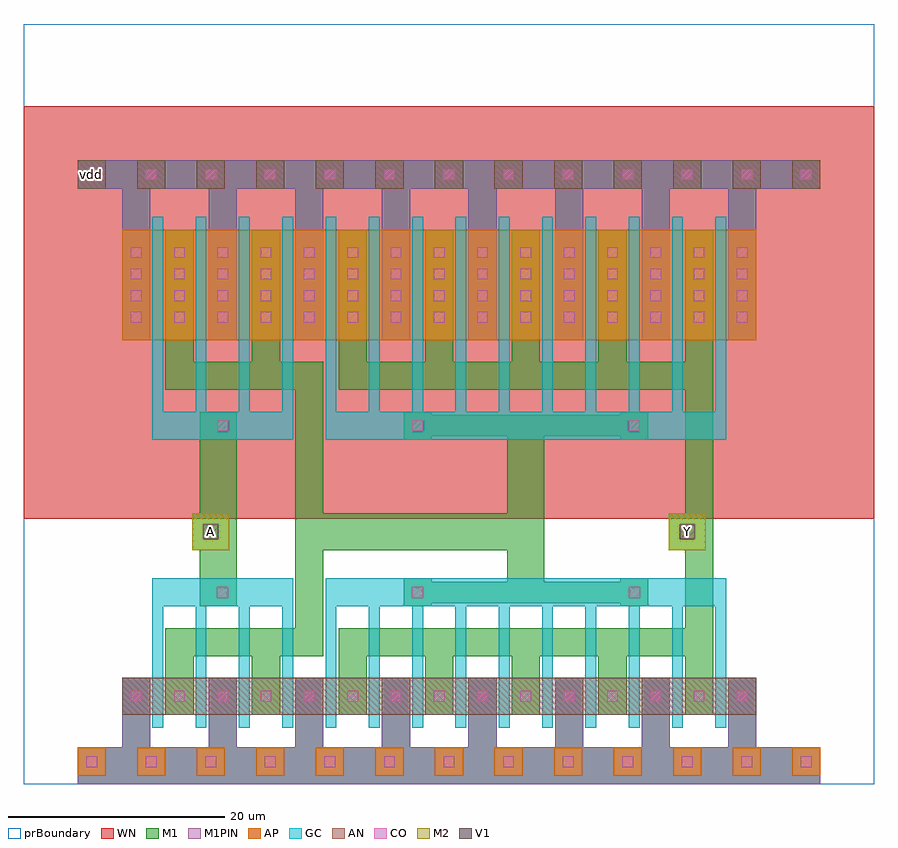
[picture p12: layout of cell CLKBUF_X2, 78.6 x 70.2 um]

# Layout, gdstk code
import gdstk
lib = gdstk.Library(unit=1e-6, precision=1e-09)
def R(c, l, rs):  # rectangles x0, y0, x1, y1
    for r in rs: c.add(gdstk.rectangle(r[:2], r[2:], *l))
def A(c, l, x, y, w, h, nx, ny, dx, dy):  # array of equal rectangles
    R(c, l, [(x+i*dx, y+j*dy, x+i*dx+w, y+j*dy+h) for i in range(nx) for j in range(ny)])
def P(c, l, *ps):  # polygons
    for p in ps: c.add(gdstk.Polygon(p, *l))
AP = (3, 1)
AN = (3, 2)
GC = (8, 1)
CO = (11, 0)
M1 = (13, 0)
V1 = (19, 0)
M2 = (20, 0)
M1PIN = (48, 1)
WN = (140, 0)
prBoundary = (235, 4)

clkbuf_x2 = lib.new_cell('CLKBUF_X2')
A(clkbuf_x2, AP, 5, 0.75, 2.6, 2.6, 13, 1, 5.5, 0)
R(clkbuf_x2, AP, [(9.1,41,67.7,51.2)])
A(clkbuf_x2, AN, 5, 55, 2.6, 2.6, 13, 1, 5.5, 0)
R(clkbuf_x2, AN, [(9.1,6.4,67.7,9.8)])
P(clkbuf_x2, GC, [(11.9,5.2),(11.9,19),(24.9,19),(24.9,5.2),(23.9,5.2),(23.9,16.4),(20.9,16.4),(20.9,5.2),(19.9,5.2),(19.9,16.4),(16.9,16.4),(16.9,5.2),(15.9,5.2),(15.9,16.4),(12.9,16.4),(12.9,5.2)],
  [(27.9,5.2),(27.9,19),(64.9,19),(64.9,5.2),(63.9,5.2),(63.9,16.4),(60.9,16.4),(60.9,5.2),(59.9,5.2),(59.9,16.4),(56.9,16.4),(56.9,5.2),(55.9,5.2),(55.9,16.4),(52.9,16.4),(52.9,5.2),(51.9,5.2),(51.9,16.4),(48.9,16.4),(48.9,5.2),(47.9,5.2),(47.9,16.4),(44.9,16.4),(44.9,5.2),(43.9,5.2),(43.9,16.4),(40.9,16.4),(40.9,5.2),(39.9,5.2),(39.9,16.4),(36.9,16.4),(36.9,5.2),(35.9,5.2),(35.9,16.4),(32.9,16.4),(32.9,5.2),(31.9,5.2),(31.9,16.4),(28.9,16.4),(28.9,5.2)],
  [(11.9,31.8),(11.9,52.4),(12.9,52.4),(12.9,34.4),(15.9,34.4),(15.9,52.4),(16.9,52.4),(16.9,34.4),(19.9,34.4),(19.9,52.4),(20.9,52.4),(20.9,34.4),(23.9,34.4),(23.9,52.4),(24.9,52.4),(24.9,31.8)],
  [(27.9,31.8),(27.9,52.4),(28.9,52.4),(28.9,34.4),(31.9,34.4),(31.9,52.4),(32.9,52.4),(32.9,34.4),(35.9,34.4),(35.9,52.4),(36.9,52.4),(36.9,34.4),(39.9,34.4),(39.9,52.4),(40.9,52.4),(40.9,34.4),(43.9,34.4),(43.9,52.4),(44.9,52.4),(44.9,34.4),(47.9,34.4),(47.9,52.4),(48.9,52.4),(48.9,34.4),(51.9,34.4),(51.9,52.4),(52.9,52.4),(52.9,34.4),(55.9,34.4),(55.9,52.4),(56.9,52.4),(56.9,34.4),(59.9,34.4),(59.9,52.4),(60.9,52.4),(60.9,34.4),(63.9,34.4),(63.9,52.4),(64.9,52.4),(64.9,31.8)])
A(clkbuf_x2, CO, 5.8, 1.55, 1, 1, 13, 2, 5.5, 54.25)
A(clkbuf_x2, CO, 9.9, 7.6, 1, 1, 5, 2, 4, 35)
A(clkbuf_x2, CO, 25.9, 7.6, 1, 1, 11, 2, 4, 35)
A(clkbuf_x2, CO, 9.9, 44.6, 1, 1, 5, 3, 4, 2)
A(clkbuf_x2, CO, 25.9, 44.6, 1, 1, 11, 3, 4, 2)
R(clkbuf_x2, CO, [(17.9,17.2,18.9,18.2), (35.9,17.2,36.9,18.2), (55.9,17.2,56.9,18.2), (17.9,32.6,18.9,33.6), (35.9,32.6,36.9,33.6), (55.9,32.6,56.9,33.6)])
A(clkbuf_x2, M1, 11.7, 2.6, 5.4, 0.8, 7, 1, 8, 0)
R(clkbuf_x2, M1, [(5,2.6,9.1,3.4), (67.7,2.6,73.6,3.4)])
P(clkbuf_x2, M1, [(5,0),(5,2.6),(9.1,2.6),(9.1,9.8),(11.7,9.8),(11.7,2.6),(17.1,2.6),(17.1,9.8),(19.7,9.8),(19.7,2.6),(25.1,2.6),(25.1,9.8),(27.7,9.8),(27.7,2.6),(33.1,2.6),(33.1,9.8),(35.7,9.8),(35.7,2.6),(41.1,2.6),(41.1,9.8),(43.7,9.8),(43.7,2.6),(49.1,2.6),(49.1,9.8),(51.7,9.8),(51.7,2.6),(57.1,2.6),(57.1,9.8),(59.7,9.8),(59.7,2.6),(65.1,2.6),(65.1,9.8),(67.7,9.8),(67.7,2.6),(73.6,2.6),(73.6,0)],
  [(16.3,16.4),(16.3,21.6),(15.6,21.6),(15.6,25),(16.3,25),(16.3,34.4),(19.7,34.4),(19.7,16.4)],
  [(13.1,6.4),(13.1,14.4),(25.1,14.4),(25.1,36.4),(13.1,36.4),(13.1,51.2),(15.7,51.2),(15.7,39),(21.1,39),(21.1,51.2),(23.7,51.2),(23.7,39),(27.7,39),(27.7,25),(44.7,25),(44.7,32.1),(37.7,32.1),(37.7,31.8),(35.1,31.8),(35.1,34.4),(37.7,34.4),(37.7,34.1),(55.1,34.1),(55.1,34.4),(57.7,34.4),(57.7,31.8),(55.1,31.8),(55.1,32.1),(48.1,32.1),(48.1,18.7),(55.1,18.7),(55.1,19),(57.7,19),(57.7,16.4),(55.1,16.4),(55.1,16.7),(37.7,16.7),(37.7,16.4),(35.1,16.4),(35.1,19),(37.7,19),(37.7,18.7),(44.7,18.7),(44.7,21.6),(27.7,21.6),(27.7,11.8),(23.7,11.8),(23.7,6.4),(21.1,6.4),(21.1,11.8),(15.7,11.8),(15.7,6.4)],
  [(29.1,6.4),(29.1,14.4),(61.1,14.4),(61.1,21.6),(59.6,21.6),(59.6,25),(61.1,25),(61.1,36.4),(29.1,36.4),(29.1,51.2),(31.7,51.2),(31.7,39),(37.1,39),(37.1,51.2),(39.7,51.2),(39.7,39),(45.1,39),(45.1,51.2),(47.7,51.2),(47.7,39),(53.1,39),(53.1,51.2),(55.7,51.2),(55.7,39),(61.1,39),(61.1,51.2),(63.7,51.2),(63.7,6.4),(61.1,6.4),(61.1,11.8),(55.7,11.8),(55.7,6.4),(53.1,6.4),(53.1,11.8),(47.7,11.8),(47.7,6.4),(45.1,6.4),(45.1,11.8),(39.7,11.8),(39.7,6.4),(37.1,6.4),(37.1,11.8),(31.7,11.8),(31.7,6.4)],
  [(9.1,41),(9.1,55),(5,55),(5,57.6),(73.6,57.6),(73.6,55),(67.7,55),(67.7,41),(65.1,41),(65.1,55),(59.7,55),(59.7,41),(57.1,41),(57.1,55),(51.7,55),(51.7,41),(49.1,41),(49.1,55),(43.7,55),(43.7,41),(41.1,41),(41.1,55),(35.7,55),(35.7,41),(33.1,41),(33.1,55),(27.7,55),(27.7,41),(25.1,41),(25.1,55),(19.7,55),(19.7,41),(17.1,41),(17.1,55),(11.7,55),(11.7,41)])
R(clkbuf_x2, V1, [(16.6,22.6,18,24), (60.6,22.6,62,24)])
R(clkbuf_x2, M2, [(15.6,21.6,19,25), (59.6,21.6,63,25)])
A(clkbuf_x2, M1PIN, 9.1, 3.4, 2.6, 6.4, 8, 1, 8, 0)
A(clkbuf_x2, M1PIN, 9.1, 41, 2.6, 14, 8, 1, 8, 0)
R(clkbuf_x2, M1PIN, [(5,0,73.6,3.4), (5,55,73.6,57.6)])
R(clkbuf_x2, WN, [(0,24.5,78.6,62.6)])
R(clkbuf_x2, prBoundary, [(0,0,78.6,70.2)])
clkbuf_x2.add(gdstk.Label('A', (17.3,23.3), layer=49, texttype=0))
clkbuf_x2.add(gdstk.Label('Y', (61.3,23.3), layer=49, texttype=0))
clkbuf_x2.add(gdstk.Label('A', (17.3,23.3), layer=48, texttype=0))
clkbuf_x2.add(gdstk.Label('Y', (61.3,23.3), layer=48, texttype=0))
clkbuf_x2.add(gdstk.Label('vdd', (6.3,56.3), layer=48, texttype=0))

lib.write_gds('CLKBUF_X2.gds')
